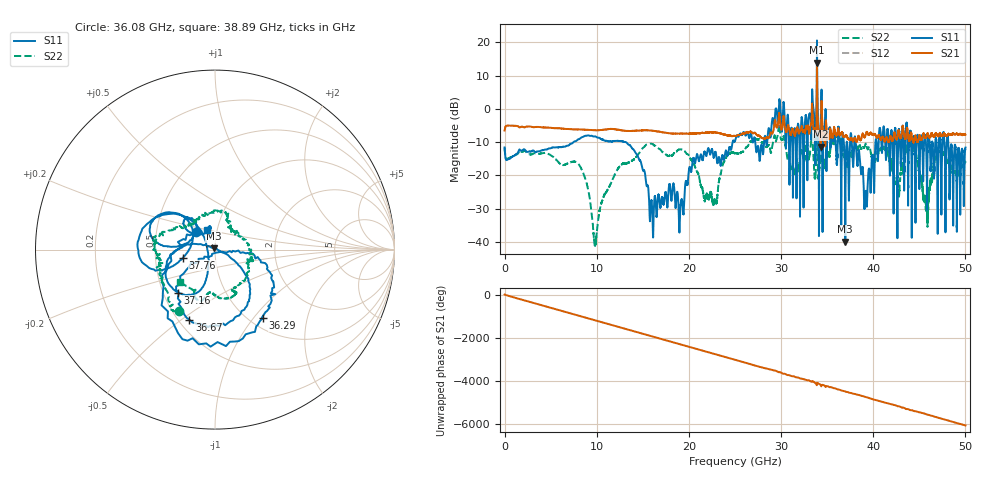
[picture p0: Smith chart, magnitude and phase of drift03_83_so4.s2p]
!Created with skrf (http://scikit-rf.org).
# Hz S RI R 50.0
!freq ReS11 ImS11 ReS21 ImS21 ReS12 ImS12 ReS22 ImS22
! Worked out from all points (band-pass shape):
!   10001 points, 300 kHz to 50 GHz, reference 50 ohm
!   highest |S21| = 13.86 dB at 33.9 GHz (marker M1); lowest = -11.4 dB at 34.32 GHz (marker M2)
!   |S21| within 3 dB of the highest: 33.89013 GHz to 33.9042 GHz (14.06 MHz wide, 0.0415 % of centre)
!   lowest |S11| = -40.0 dB at 36.97 GHz (marker M3), VSWR 1.02, Z = 49.4 + j0.808 ohm
!   |S11| at or under -10 dB: start of sweep to 7.489 GHz; 13.14 GHz to 24.74 GHz (11.6 GHz wide, 61.3 % of centre); 38.09 GHz to 40.24 GHz (2.147 GHz wide, 5.48 % of centre) (the widest 3 of 51)
!   |S22| runs from -41.3 to 6.3 dB; largest |S21 - S12| = 0.37
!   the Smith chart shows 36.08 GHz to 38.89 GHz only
!   S11 on the Smith chart (normalised r, x): 36.08 GHz: 0.79, +0.16; 36.29 GHz: 1.15, -1.12; 36.67 GHz: 0.57, -0.53; 37.16 GHz: 0.60, -0.32; 37.76 GHz: 0.69, -0.06; 38.89 GHz: 0.90, +0.20
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300000  -0.2349 -0.1179  0.4653 0.0763  0.4654 0.0779  -0.2335 -0.1223
1.440291e9  0.2104 0.0649  -0.5479 -0.0299  -0.5481 -0.0298  0.2113 -0.00364
2.915283e9  -0.2123 -0.0883  0.5347 0.0523  0.5348 0.0524  -0.2014 0.0399
8.33525e9  0.2894 -0.233  0.145 0.4667  0.1446 0.4669  -0.0724 -0.1021
9.840241e9  -0.3654 0.1247  -0.142 -0.4548  -0.1419 -0.455  0.00881 0.00245
1.66702e10  0.0262 0.0437  -0.3803 0.2515  -0.3811 0.2514  -0.1288 -0.2217
2.500015e10  -0.3271 -0.0156  -0.2529 -0.2983  -0.252 -0.3014  -0.2135 0.0268
2.895513e10  -0.327 0.4302  -0.2919 0.3234  -0.3019 0.287  0.0624 0.2215
3.006512e10  0.4035 0.2688  0.4535 -0.1927  0.4576 -0.178  0.1795 -0.2954
3.171011e10  -0.0934 0.1852  -0.3657 0.3565  -0.3657 0.3506  0.0634 0.1578
3.33351e10  0.6497 -0.8154  0.2659 -0.8496  0.2695 -0.8316  -0.1835 -0.4334
3.38951e10  -3.108 -10.18  -4.823 1.041  -4.505 1.236  0.6 1.982
3.432009e10  -0.7779 -0.00109  -0.1836 0.1982  -0.2453 0.178  0.1451 -0.074
3.607508e10  -0.1075 0.1006  0.2739 -0.3071  0.2807 -0.3012  -0.2031 -0.3445
3.628508e10  0.2671 -0.3805  0.1535 -0.4041  0.1575 -0.3946  -0.301 -0.1421
3.666508e10  -0.143 -0.3898  -0.2248 -0.3629  -0.2346 -0.3782  -0.2336 0.1085
3.697008e10  -0.00584 0.00817  -0.3795 -0.1085  -0.3745 -0.111  0.00049 0.2091
3.716008e10  -0.2053 -0.2414  -0.3796 -0.0129  -0.3723 -0.0168  0.082 0.1295
3.776007e10  -0.1783 -0.0451  -0.1057 0.3121  -0.1036 0.3074  0.1724 -0.1556
3.889007e10  -0.0421 0.1107  0.4078 -0.0972  0.4034 -0.1051  -0.1944 -0.179
4.167005e10  -0.209 0.2994  0.3148 0.00412  0.315 0.0122  -0.1979 -0.0131
5e10  -0.1176 -0.2352  0.1382 0.3869  0.1391 0.3882  -0.0509 -0.146
